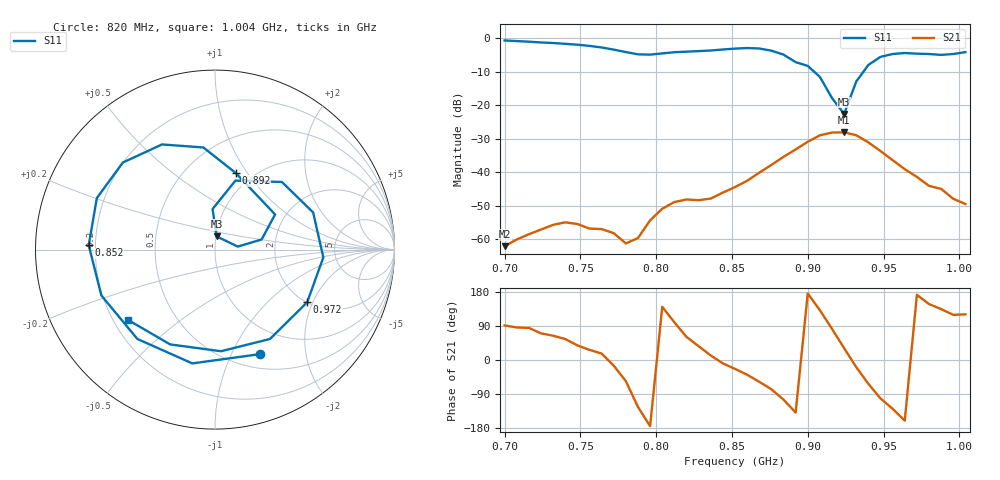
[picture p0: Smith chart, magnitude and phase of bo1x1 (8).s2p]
# Hz S RI R 50
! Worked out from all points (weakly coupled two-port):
!   39 points, 700 MHz to 1.004 GHz, reference 50 ohm
!   highest |S21| = -28.10 dB at 924 MHz (marker M1); lowest = -62.2 dB at 700 MHz (marker M2)
!   lowest |S11| = -22.6 dB at 924 MHz (marker M3), VSWR 1.16, Z = 50.4 + j7.45 ohm
!   |S11| at or under -10 dB: 904.3 MHz to 936.7 MHz (32.35 MHz wide, 3.51 % of centre)
!   S12 and S22 are empty: the file has one direction only
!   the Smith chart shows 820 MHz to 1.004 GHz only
!   S11 on the Smith chart (normalised r, x): 820 MHz: 0.66, -1.29; 852 MHz: 0.17, +0.02; 892 MHz: 0.84, +0.89; 972 MHz: 2.02, -1.82; 1.004 GHz: 0.26, -0.33
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7e8  0.7507 0.5527  -1.61e-05 0.000781  0 0  0 0
7.24e8  0.838 -0.2342  0.000465 0.0013  0 0  0 0
7.4e8  0.4581 -0.6924  0.00101 0.00146  0 0  0 0
7.56e8  -0.1889 -0.7497  0.00128 0.000644  0 0  0 0
7.72e8  -0.6545 -0.185  0.00118 -0.000317  0 0  0 0
7.8e8  -0.5779 0.2369  0.000482 -0.00071  0 0  0 0
7.88e8  -0.2193 0.5349  -0.000577 -0.000858  0 0  0 0
7.96e8  0.2666 0.5062  -0.00189 -0.000178  0 0  0 0
8.04e8  0.5788 0.1462  -0.00218 0.00181  0 0  0 0
8.2e8  0.2496 -0.5826  0.00189 0.00341  0 0  0 0
8.36e8  -0.4325 -0.4979  0.00394 0.000828  0 0  0 0
8.52e8  -0.7035 0.0243  0.00548 -0.00238  0 0  0 0
8.76e8  -0.2951 0.5859  0.00286 -0.0125  0 0  0 0
8.92e8  0.116 0.4264  -0.0164 -0.0144  0 0  0 0
9e8  0.335 0.1957  -0.0284 0.00217  0 0  0 0
9.08e8  0.2596 0.0563  -0.0235 0.0266  0 0  0 0
9.24e8  0.00896 0.0736  0.0337 0.0204  0 0  0 0
9.4e8  0.1139 0.3844  0.0127 -0.0248  0 0  0 0
9.56e8  0.5468 0.207  -0.00947 -0.0118  0 0  0 0
9.72e8  0.5136 -0.2933  -0.00842 0.00116  0 0  0 0
9.88e8  0.0336 -0.5662  -0.00392 0.00401  0 0  0 0
1.004e9  -0.4862 -0.3909  -0.00169 0.00288  0 0  0 0
